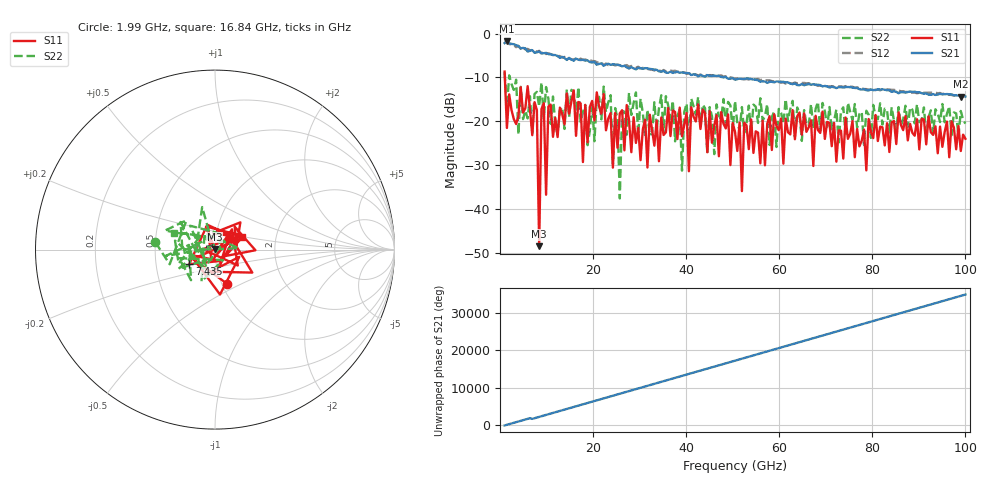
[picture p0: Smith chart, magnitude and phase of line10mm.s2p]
!Created with skrf (http://scikit-rf.org).
# GHz S RI R 50.0
!freq ReS11 ImS11 ReS21 ImS21 ReS12 ImS12 ReS22 ImS22
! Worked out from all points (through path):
!   201 points, 1 GHz to 100 GHz, reference 50 ohm
!   highest |S21| = -1.66 dB at 1.495 GHz (marker M1); lowest = -14.4 dB at 99.01 GHz (marker M2)
!   lowest |S11| = -48.5 dB at 8.425 GHz (marker M3), VSWR 1.01, Z = 49.8 + j0.289 ohm
!   |S11| at or under -10 dB: 1.051 GHz to end of sweep
!   |S22| runs from -37.6 to -8.8 dB; largest |S21 - S12| = 0.082
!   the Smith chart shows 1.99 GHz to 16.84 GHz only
!   S11 on the Smith chart (normalised r, x): 1.99 GHz: 1.06, -0.42; 7.435 GHz: 0.74, -0.12; 16.84 GHz: 1.34, +0.19
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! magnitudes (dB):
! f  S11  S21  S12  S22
! 1 GHz  -8.7  -2.2  -1.9  -8.8
! 1.495 GHz  -21.5  -1.7  -1.6  -16.7
! 1.99 GHz  -13.9  -2.2  -2.4  -9.5
! 7.435 GHz  -15.6  -4.4  -3.9  -13.8
! 7.93 GHz  -17.4  -4.3  -4.1  -13.3
! 8.425 GHz  -48.5  -4.1  -3.9  -16.6
! 8.92 GHz  -17.2  -4.5  -4.5  -11.1
! 9.91 GHz  -36.7  -4.4  -4.7  -12.2
! 10.4 GHz  -16.6  -4.7  -4.5  -14.8
! 16.84 GHz  -15.6  -6.0  -6.1  -12.2
! 17.83 GHz  -29.3  -6.0  -6.0  -17.9
! 23.77 GHz  -18.2  -7.1  -7.2  -14.0
! 25.75 GHz  -18.2  -7.2  -7.2  -37.6
! 27.73 GHz  -19.7  -8.0  -7.6  -13.5
! 34.16 GHz  -29.1  -8.6  -8.3  -17.1
! 39.12 GHz  -23.4  -8.8  -8.9  -31.2
! 40.1 GHz  -18.1  -9.0  -9.2  -15.9
! 50.5 GHz  -22.4  -10.5  -10.3  -15.3
! 67.33 GHz  -30.2  -11.5  -11.6  -21.6
! 83.67 GHz  -27.0  -12.9  -12.7  -22.5
! 99.01 GHz  -26.8  -14.4  -14.2  -17.6
! 100 GHz  -24.0  -14.4  -14.2  -20.5
